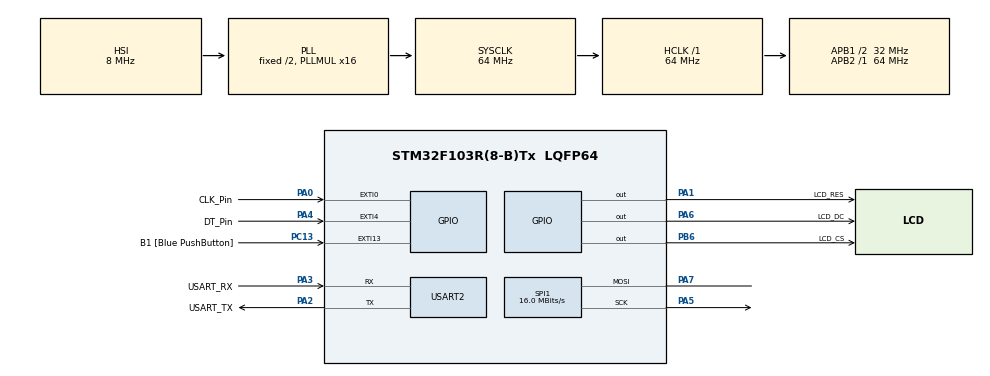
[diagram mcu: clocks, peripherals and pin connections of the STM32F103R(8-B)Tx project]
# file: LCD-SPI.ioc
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Mcu.Family=STM32F1
Mcu.Name=STM32F103R(8-B)Tx
Mcu.Package=LQFP64
NVIC.EXTI0_IRQn=true\:1\:0\:true\:false\:true\:true\:true\:true
NVIC.EXTI15_10_IRQn=true\:2\:0\:true\:false\:true\:true\:true\:true
NVIC.EXTI4_IRQn=true\:1\:0\:true\:false\:true\:true\:true\:true
NVIC.PriorityGroup=NVIC_PRIORITYGROUP_4
PA0-WKUP.GPIO_Label=CLK_Pin
PA0-WKUP.GPIO_ModeDefaultEXTI=GPIO_MODE_IT_RISING_FALLING
PA0-WKUP.Signal=GPXTI0
PA1.GPIO_Label=LCD_RES
PA1.Signal=GPIO_Output
PA13.GPIO_Label=TMS
PA13.Mode=Serial_Wire
PA13.Signal=SYS_JTMS-SWDIO
PA14.GPIO_Label=TCK
PA14.Mode=Serial_Wire
PA14.Signal=SYS_JTCK-SWCLK
PA2.GPIO_Label=USART_TX
PA2.GPIO_Mode=GPIO_MODE_AF_PP
PA2.GPIO_PuPd=GPIO_NOPULL
PA2.GPIO_Speed=GPIO_SPEED_FREQ_LOW
PA2.Mode=Asynchronous
PA2.Signal=USART2_TX
PA3.GPIO_Label=USART_RX
PA3.GPIO_Mode=GPIO_MODE_AF_PP
PA3.GPIO_PuPd=GPIO_NOPULL
PA3.GPIO_Speed=GPIO_SPEED_FREQ_LOW
PA3.Mode=Asynchronous
PA3.Signal=USART2_RX
PA4.GPIO_Label=DT_Pin
PA4.GPIO_ModeDefaultEXTI=GPIO_MODE_IT_RISING_FALLING
PA4.Signal=GPXTI4
PA5.Mode=Simplex_Bidirectional_Master
PA5.Signal=SPI1_SCK
PA6.GPIO_Label=LCD_DC
PA6.Signal=GPIO_Output
PA7.Mode=Simplex_Bidirectional_Master
PA7.Signal=SPI1_MOSI
PB3.GPIO_Label=SWO
PB3.Signal=SYS_JTDO-TRACESWO
PB6.GPIO_Label=LCD_CS
PB6.Signal=GPIO_Output
PC13-TAMPER-RTC.GPIO_Label=B1 [Blue PushButton]
PC13-TAMPER-RTC.GPIO_ModeDefaultEXTI=GPIO_MODE_IT_RISING
PC13-TAMPER-RTC.GPIO_PuPd=GPIO_NOPULL
PC13-TAMPER-RTC.Signal=GPXTI13
PC14-OSC32_IN.Signal=RCC_OSC32_IN
PC15-OSC32_OUT.Signal=RCC_OSC32_OUT
PD0-OSC_IN.Signal=RCC_OSC_IN
PD1-OSC_OUT.Signal=RCC_OSC_OUT
ProjectManager.HeapSize=0x200
ProjectManager.StackSize=0x400
ProjectManager.TargetToolchain=STM32CubeIDE
RCC.AHBFreq_Value=64000000
RCC.APB1CLKDivider=RCC_HCLK_DIV2
RCC.APB1Freq_Value=32000000
RCC.APB1TimFreq_Value=64000000
RCC.APB2Freq_Value=64000000
RCC.APB2TimFreq_Value=64000000
RCC.HCLKFreq_Value=64000000
RCC.PLLMUL=RCC_PLL_MUL16
RCC.RTCClockSelection=RCC_RTCCLKSOURCE_LSE
RCC.SYSCLKFreq_VALUE=64000000
RCC.SYSCLKSource=RCC_SYSCLKSOURCE_PLLCLK
RCC.USBFreq_Value=64000000
SPI1.BaudRatePrescaler=SPI_BAUDRATEPRESCALER_4
SPI1.CalculateBaudRate=16.0 MBits/s
SPI1.Direction=SPI_DIRECTION_1LINE
SPI1.Mode=SPI_MODE_MASTER
SPI1.VirtualType=VM_MASTER
USART2.VirtualMode=VM_ASYNC
board=NUCLEO-F103RB

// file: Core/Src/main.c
/* USER CODE BEGIN Header */
/**
 ******************************************************************************
 * @file           : main.c
 * @brief          : Main program body
 ******************************************************************************
 * @attention
 *
 * Copyright (c) 2025 STMicroelectronics.
 * All rights reserved.
 *
 * This software is licensed under terms that can be found in the LICENSE file
 * in the root directory of this software component.
 * If no LICENSE file comes with this software, it is provided AS-IS.
 *
 ******************************************************************************
 */
/* USER CODE END Header */
#include "main.h"

/* USER CODE BEGIN Includes */
#include <string.h>
#include <stdio.h>
/* USER CODE END Includes */

/* USER CODE BEGIN PD */
// ST7735S Commands
#define ST7735_NOP     0x00
#define ST7735_SWRESET 0x01
#define ST7735_RDDID   0x04
#define ST7735_RDDST   0x09
#define ST7735_SLPIN   0x10
#define ST7735_SLPOUT  0x11
#define ST7735_PTLON   0x12
#define ST7735_NORON   0x13
#define ST7735_INVOFF  0x20
#define ST7735_INVON   0x21
#define ST7735_DISPOFF 0x28
#define ST7735_DISPON  0x29
#define ST7735_CASET   0x2A
#define ST7735_RASET   0x2B
#define ST7735_RAMWR   0x2C
#define ST7735_RAMRD   0x2E
#define ST7735_PTLAR   0x30
#define ST7735_COLMOD  0x3A
#define ST7735_MADCTL  0x36
#define ST7735_FRMCTR1 0xB1
#define ST7735_FRMCTR2 0xB2
#define ST7735_FRMCTR3 0xB3
#define ST7735_INVCTR  0xB4
#define ST7735_DISSET5 0xB6
#define ST7735_PWCTR1  0xC0
#define ST7735_PWCTR2  0xC1
#define ST7735_PWCTR3  0xC2
#define ST7735_PWCTR4  0xC3
#define ST7735_PWCTR5  0xC4
#define ST7735_VMCTR1  0xC5
#define ST7735_RDID1   0xDA
#define ST7735_RDID2   0xDB
#define ST7735_RDID3   0xDC
#define ST7735_RDID4   0xDD
#define ST7735_GMCTRP1 0xE0
#define ST7735_GMCTRN1 0xE1

// LCD dimensions
#define LCD_WIDTH  160
#define LCD_HEIGHT 120 //80

// Colors (RGB565)
#define BLACK   0x0000
#define WHITE   0xFFFF
#define RED     0xF800
#define GREEN   0x07E0
#define BLUE    0x001F
#define CYAN    0x07FF
#define MAGENTA 0xF81F
#define YELLOW  0xFFE0
/* USER CODE END PD */

/* USER CODE BEGIN PM */
// Pin control macros
#define LCD_CS_LOW()   HAL_GPIO_WritePin(GPIOB, GPIO_PIN_6, GPIO_PIN_RESET)
#define LCD_CS_HIGH()  HAL_GPIO_WritePin(GPIOB, GPIO_PIN_6, GPIO_PIN_SET)
#define LCD_DC_LOW()   HAL_GPIO_WritePin(GPIOA, GPIO_PIN_6, GPIO_PIN_RESET)
#define LCD_DC_HIGH()  HAL_GPIO_WritePin(GPIOA, GPIO_PIN_6, GPIO_PIN_SET)
#define LCD_RES_LOW()  HAL_GPIO_WritePin(GPIOA, GPIO_PIN_1, GPIO_PIN_RESET)
#define LCD_RES_HIGH() HAL_GPIO_WritePin(GPIOA, GPIO_PIN_1, GPIO_PIN_SET)

/* USER CODE END PM */

SPI_HandleTypeDef hspi1;

UART_HandleTypeDef huart2;

/* USER CODE BEGIN PV */
// Simple 8x8 font (ASCII 32-127) - subset for demonstration
static const uint8_t font8x8[][8] = { { 0x00, 0x00, 0x00, 0x00, 0x00, 0x00,
		0x00, 0x00 }, // ' ' (Space)
		{ 0x18, 0x3C, 0x3C, 0x18, 0x18, 0x00, 0x18, 0x00 }, // '!'
		{ 0x36, 0x36, 0x00, 0x00, 0x00, 0x00, 0x00, 0x00 }, // '"'
		{ 0x36, 0x36, 0x7F, 0x36, 0x7F, 0x36, 0x36, 0x00 }, // '#'
		{ 0x0C, 0x3E, 0x03, 0x1E, 0x30, 0x1F, 0x0C, 0x00 }, // '$'
		{ 0x00, 0x63, 0x33, 0x18, 0x0C, 0x66, 0x63, 0x00 }, // '%'
		{ 0x1C, 0x36, 0x1C, 0x6E, 0x3B, 0x33, 0x6E, 0x00 }, // '&'
		{ 0x06, 0x06, 0x03, 0x00, 0x00, 0x00, 0x00, 0x00 }, // '''
		{ 0x18, 0x0C, 0x06, 0x06, 0x06, 0x0C, 0x18, 0x00 }, // '('
		{ 0x06, 0x0C, 0x18, 0x18, 0x18, 0x0C, 0x06, 0x00 }, // ')'
		{ 0x00, 0x66, 0x3C, 0xFF, 0x3C, 0x66, 0x00, 0x00 }, // '*'
		{ 0x00, 0x0C, 0x0C, 0x3F, 0x0C, 0x0C, 0x00, 0x00 }, // '+'
		{ 0x00, 0x00, 0x00, 0x00, 0x00, 0x0C, 0x06, 0x00 }, // ','
		{ 0x00, 0x00, 0x00, 0x3F, 0x00, 0x00, 0x00, 0x00 }, // '-'
		{ 0x00, 0x00, 0x00, 0x00, 0x00, 0x0C, 0x0C, 0x00 }, // '.'
		{ 0x60, 0x30, 0x18, 0x0C, 0x06, 0x03, 0x01, 0x00 }, // '/'
		{ 0x3E, 0x63, 0x73, 0x7B, 0x6F, 0x67, 0x3E, 0x00 }, // '0'
		{ 0x0C, 0x0E, 0x0C, 0x0C, 0x0C, 0x0C, 0x3F, 0x00 }, // '1'
		{ 0x1E, 0x33, 0x30, 0x1C, 0x06, 0x33, 0x3F, 0x00 }, // '2'
		{ 0x1E, 0x33, 0x30, 0x1C, 0x30, 0x33, 0x1E, 0x00 }, // '3'
		{ 0x38, 0x3C, 0x36, 0x33, 0x7F, 0x30, 0x78, 0x00 }, // '4'
		{ 0x3F, 0x03, 0x1F, 0x30, 0x30, 0x33, 0x1E, 0x00 }, // '5'
		{ 0x1C, 0x06, 0x03, 0x1F, 0x33, 0x33, 0x1E, 0x00 }, // '6'
		{ 0x3F, 0x33, 0x30, 0x18, 0x0C, 0x0C, 0x0C, 0x00 }, // '7'
		{ 0x1E, 0x33, 0x33, 0x1E, 0x33, 0x33, 0x1E, 0x00 }, // '8'
		{ 0x1E, 0x33, 0x33, 0x3E, 0x30, 0x18, 0x0E, 0x00 }, // '9'
		{ 0x00, 0x0C, 0x0C, 0x00, 0x00, 0x0C, 0x0C, 0x00 }, // ':'
		{ 0x00, 0x0C, 0x0C, 0x00, 0x00, 0x0C, 0x06, 0x00 }, // ';'
		{ 0x18, 0x0C, 0x06, 0x03, 0x06, 0x0C, 0x18, 0x00 }, // '<'
		{ 0x00, 0x00, 0x3F, 0x00, 0x00, 0x3F, 0x00, 0x00 }, // '='
		{ 0x06, 0x0C, 0x18, 0x30, 0x18, 0x0C, 0x06, 0x00 }, // '>'
		{ 0x1E, 0x33, 0x30, 0x18, 0x0C, 0x00, 0x0C, 0x00 }, // '?'
		{ 0x3E, 0x63, 0x7B, 0x7B, 0x7B, 0x03, 0x1E, 0x00 }, // '@'
		{ 0x0C, 0x1E, 0x33, 0x33, 0x3F, 0x33, 0x33, 0x00 }, // 'A'
		{ 0x3F, 0x66, 0x66, 0x3E, 0x66, 0x66, 0x3F, 0x00 }, // 'B'
		{ 0x3C, 0x66, 0x03, 0x03, 0x03, 0x66, 0x3C, 0x00 }, // 'C'
		{ 0x1F, 0x36, 0x66, 0x66, 0x66, 0x36, 0x1F, 0x00 }, // 'D'
		{ 0x7F, 0x46, 0x16, 0x1E, 0x16, 0x46, 0x7F, 0x00 }, // 'E'
		{ 0x7F, 0x46, 0x16, 0x1E, 0x16, 0x06, 0x0F, 0x00 }, // 'F'
		{ 0x3C, 0x66, 0x03, 0x03, 0x73, 0x66, 0x7C, 0x00 }, // 'G'
		{ 0x33, 0x33, 0x33, 0x3F, 0x33, 0x33, 0x33, 0x00 }, // 'H'
		{ 0x1E, 0x0C, 0x0C, 0x0C, 0x0C, 0x0C, 0x1E, 0x00 }, // 'I'
		{ 0x78, 0x30, 0x30, 0x30, 0x33, 0x33, 0x1E, 0x00 }, // 'J'
		{ 0x67, 0x66, 0x36, 0x1E, 0x36, 0x66, 0x67, 0x00 }, // 'K'
		{ 0x0F, 0x06, 0x06, 0x06, 0x46, 0x66, 0x7F, 0x00 }, // 'L'
		{ 0x63, 0x77, 0x7F, 0x7F, 0x6B, 0x63, 0x63, 0x00 }, // 'M'
		{ 0x63, 0x67, 0x6F, 0x7B, 0x73, 0x63, 0x63, 0x00 }, // 'N'
		{ 0x1C, 0x36, 0x63, 0x63, 0x63, 0x36, 0x1C, 0x00 }, // 'O'
		{ 0x3F, 0x66, 0x66, 0x3E, 0x06, 0x06, 0x0F, 0x00 }, // 'P'
		{ 0x1E, 0x33, 0x33, 0x33, 0x3B, 0x1E, 0x38, 0x00 }, // 'Q'
		{ 0x3F, 0x66, 0x66, 0x3E, 0x36, 0x66, 0x67, 0x00 }, // 'R'
		{ 0x1E, 0x33, 0x07, 0x0E, 0x38, 0x33, 0x1E, 0x00 }, // 'S'
		{ 0x3F, 0x2D, 0x0C, 0x0C, 0x0C, 0x0C, 0x1E, 0x00 }, // 'T'
		{ 0x33, 0x33, 0x33, 0x33, 0x33, 0x33, 0x3F, 0x00 }, // 'U'
		{ 0x33, 0x33, 0x33, 0x33, 0x33, 0x1E, 0x0C, 0x00 }, // 'V'
		{ 0x63, 0x63, 0x63, 0x6B, 0x7F, 0x77, 0x63, 0x00 }, // 'W'
		{ 0x63, 0x63, 0x36, 0x1C, 0x1C, 0x36, 0x63, 0x00 }, // 'X'
		{ 0x33, 0x33, 0x33, 0x1E, 0x0C, 0x0C, 0x1E, 0x00 }, // 'Y'
		{ 0x7F, 0x63, 0x31, 0x18, 0x4C, 0x66, 0x7F, 0x00 }, // 'Z'
		{ 0x1E, 0x06, 0x06, 0x06, 0x06, 0x06, 0x1E, 0x00 }, // '['
		{ 0x03, 0x06, 0x0C, 0x18, 0x30, 0x60, 0x40, 0x00 }, // '\'
		{ 0x1E, 0x18, 0x18, 0x18, 0x18, 0x18, 0x1E, 0x00 }, // ']'
		{ 0x08, 0x1C, 0x36, 0x63, 0x00, 0x00, 0x00, 0x00 }, // '^'
		{ 0x00, 0x00, 0x00, 0x00, 0x00, 0x00, 0x00, 0xFF }, // '_'
		{ 0x0C, 0x0C, 0x18, 0x00, 0x00, 0x00, 0x00, 0x00 }, // '`'
		{ 0x00, 0x00, 0x1E, 0x30, 0x3E, 0x33, 0x6E, 0x00 }, // 'a'
		{ 0x07, 0x06, 0x06, 0x3E, 0x66, 0x66, 0x3B, 0x00 }, // 'b'
		{ 0x00, 0x00, 0x1E, 0x33, 0x03, 0x33, 0x1E, 0x00 }, // 'c'
		{ 0x38, 0x30, 0x30, 0x3e, 0x33, 0x33, 0x6E, 0x00 }, // 'd'
		{ 0x00, 0x00, 0x1E, 0x33, 0x3f, 0x03, 0x1E, 0x00 }, // 'e'
		{ 0x1C, 0x36, 0x06, 0x0f, 0x06, 0x06, 0x0F, 0x00 }, // 'f'
		{ 0x00, 0x00, 0x6E, 0x33, 0x33, 0x3E, 0x30, 0x1F }, // 'g'
		{ 0x07, 0x06, 0x36, 0x6E, 0x66, 0x66, 0x67, 0x00 }, // 'h'
		{ 0x0C, 0x00, 0x0E, 0x0C, 0x0C, 0x0C, 0x1E, 0x00 }, // 'i'
		{ 0x30, 0x00, 0x30, 0x30, 0x30, 0x33, 0x33, 0x1E }, // 'j'
		{ 0x07, 0x06, 0x66, 0x36, 0x1E, 0x36, 0x67, 0x00 }, // 'k'
		{ 0x0E, 0x0C, 0x0C, 0x0C, 0x0C, 0x0C, 0x1E, 0x00 }, // 'l'
		{ 0x00, 0x00, 0x33, 0x7F, 0x7F, 0x6B, 0x63, 0x00 }, // 'm'
		{ 0x00, 0x00, 0x1F, 0x33, 0x33, 0x33, 0x33, 0x00 }, // 'n'
		{ 0x00, 0x00, 0x1E, 0x33, 0x33, 0x33, 0x1E, 0x00 }, // 'o'
		{ 0x00, 0x00, 0x3B, 0x66, 0x66, 0x3E, 0x06, 0x0F }, // 'p'
		{ 0x00, 0x00, 0x6E, 0x33, 0x33, 0x3E, 0x30, 0x78 }, // 'q'
		{ 0x00, 0x00, 0x3B, 0x6E, 0x66, 0x06, 0x0F, 0x00 }, // 'r'
		{ 0x00, 0x00, 0x3E, 0x03, 0x1E, 0x30, 0x1F, 0x00 }, // 's'
		{ 0x08, 0x0C, 0x3E, 0x0C, 0x0C, 0x2C, 0x18, 0x00 }, // 't'
		{ 0x00, 0x00, 0x33, 0x33, 0x33, 0x33, 0x6E, 0x00 }, // 'u'
		{ 0x00, 0x00, 0x33, 0x33, 0x33, 0x1E, 0x0C, 0x00 }, // 'v'
		{ 0x00, 0x00, 0x63, 0x6B, 0x7F, 0x7F, 0x36, 0x00 }, // 'w'
		{ 0x00, 0x00, 0x63, 0x36, 0x1C, 0x36, 0x63, 0x00 }, // 'x'
		{ 0x00, 0x00, 0x33, 0x33, 0x33, 0x3E, 0x30, 0x1F }, // 'y'
		{ 0x00, 0x00, 0x3F, 0x19, 0x0C, 0x26, 0x3F, 0x00 }, // 'z'
		{ 0x38, 0x0C, 0x0C, 0x07, 0x0C, 0x0C, 0x38, 0x00 }, // '{'
		{ 0x18, 0x18, 0x18, 0x00, 0x18, 0x18, 0x18, 0x00 }, // '|'
		{ 0x07, 0x0C, 0x0C, 0x38, 0x0C, 0x0C, 0x07, 0x00 }, // '}'
		{ 0x6E, 0x3B, 0x00, 0x00, 0x00, 0x00, 0x00, 0x00 }, // '~'
		};
// 인코더 관련 변수 (그레이 코드 방식)
volatile int32_t encoder_count = 0;
volatile uint8_t encoder_last_encoded = 0;

// 디바운스를 위한 변수
volatile uint32_t last_interrupt_time = 0;
#define DEBOUNCE_DELAY 5  // ms 단위

/* USER CODE END PV */

void SystemClock_Config(void);
static void MX_GPIO_Init(void);
static void MX_USART2_UART_Init(void);
static void MX_SPI1_Init(void);
/* USER CODE BEGIN PFP */
void Encoder_Init(void);
void HAL_GPIO_EXTI_Callback(uint16_t GPIO_Pin);

// LCD function prototypes
void LCD_WriteCommand(uint8_t cmd);
void LCD_WriteData(uint8_t data);
void LCD_WriteData16(uint16_t data);
void LCD_Init(void);
void LCD_SetWindow(uint8_t x0, uint8_t y0, uint8_t x1, uint8_t y1);
void LCD_DrawPixel(uint8_t x, uint8_t y, uint16_t color);
void LCD_Fill(uint16_t color);
void LCD_DrawChar(uint8_t x, uint8_t y, char ch, uint16_t color,
		uint16_t bg_color);
void LCD_DrawString(uint8_t x, uint8_t y, const char *str, uint16_t color,
		uint16_t bg_color);
/* USER CODE END PFP */

/* USER CODE BEGIN 0 */
#ifdef __GNUC__
/* With GCC, small printf (option LD Linker->Libraries->Small printf
   set to 'Yes') calls __io_putchar() */
#define PUTCHAR_PROTOTYPE int __io_putchar(int ch)
#else
#define PUTCHAR_PROTOTYPE int fputc(int ch, FILE *f)
#endif /* __GNUC__ */

/**
* @brief Retargets the C library printf function to the USART.
* @param None
* @retval None
*/
PUTCHAR_PROTOTYPE
{
  /* Place your implementation of fputc here */
  /* e.g. write a character to the USART1 and Loop until the end of transmission */
  if (ch == '\n')
    HAL_UART_Transmit(&huart2, (uint8_t*)"\r", 1, 0xFFFF);
  HAL_UART_Transmit(&huart2, (uint8_t*)&ch, 1, 0xFFFF);

  return ch;
}

/**
 * @brief 로터리 인코더 초기화 (그레이 코드 방식)
 */
void Encoder_Init(void)
{
  // 초기 상태 읽기
  uint8_t clk = HAL_GPIO_ReadPin(GPIOA, GPIO_PIN_0);
  uint8_t dt = HAL_GPIO_ReadPin(GPIOA, GPIO_PIN_1);
  encoder_last_encoded = (clk << 1) | dt;
  encoder_count = 0;
}

/**
 * @brief GPIO 외부 인터럽트 콜백 함수 (그레이 코드 방식)
 * 안정적인 로터리 인코더 감지
 */
void HAL_GPIO_EXTI_Callback(uint16_t GPIO_Pin)
{
  uint32_t current_time = HAL_GetTick();

  // 디바운스 처리
  if (current_time - last_interrupt_time < DEBOUNCE_DELAY) {
    return;
  }
  last_interrupt_time = current_time;

  // 인코더 핀들 처리 (PA0, PA1)
  if (GPIO_Pin == GPIO_PIN_0 || GPIO_Pin == GPIO_PIN_1)
  {
    // 현재 상태 읽기
    uint8_t clk = HAL_GPIO_ReadPin(GPIOA, GPIO_PIN_0);
    uint8_t dt = HAL_GPIO_ReadPin(GPIOA, GPIO_PIN_1);
    uint8_t encoded = (clk << 1) | dt;  // 2비트 상태 생성

    uint8_t sum = (encoder_last_encoded << 2) | encoded;  // 이전 상태와 현재 상태 결합

    // 회전 방향 결정 (그레이 코드 기반)
    if(sum == 0b1101 || sum == 0b0100 || sum == 0b0010 || sum == 0b1011) {
      encoder_count++;  // 시계방향
    }
    if(sum == 0b1110 || sum == 0b0111 || sum == 0b0001 || sum == 0b1000) {
      encoder_count--;  // 반시계방향
    }

    encoder_last_encoded = encoded;
  }
}
void LCD_WriteCommand(uint8_t cmd) {
	LCD_CS_LOW();
	LCD_DC_LOW();
	HAL_SPI_Transmit(&hspi1, &cmd, 1, HAL_MAX_DELAY);
	LCD_CS_HIGH();
}

void LCD_WriteData(uint8_t data) {
	LCD_CS_LOW();
	LCD_DC_HIGH();
	HAL_SPI_Transmit(&hspi1, &data, 1, HAL_MAX_DELAY);
	LCD_CS_HIGH();
}

void LCD_WriteData16(uint16_t data) {
	uint8_t buffer[2];
	buffer[0] = (data >> 8) & 0xFF;
	buffer[1] = data & 0xFF;

	LCD_CS_LOW();
	LCD_DC_HIGH();
	HAL_SPI_Transmit(&hspi1, buffer, 2, HAL_MAX_DELAY);
	LCD_CS_HIGH();
}

void LCD_Init(void) {
	// Hardware reset
	LCD_RES_LOW();
	HAL_Delay(100);
	LCD_RES_HIGH();
	HAL_Delay(100);

	// Software reset
	LCD_WriteCommand(ST7735_SWRESET);
	HAL_Delay(150);

	// Out of sleep mode
	LCD_WriteCommand(ST7735_SLPOUT);
	HAL_Delay(500);

	// Frame rate control - normal mode
	LCD_WriteCommand(ST7735_FRMCTR1);
	LCD_WriteData(0x01);
	LCD_WriteData(0x2C);
	LCD_WriteData(0x2D);

	// Frame rate control - idle mode
	LCD_WriteCommand(ST7735_FRMCTR2);
	LCD_WriteData(0x01);
	LCD_WriteData(0x2C);
	LCD_WriteData(0x2D);

	// Frame rate control - partial mode
	LCD_WriteCommand(ST7735_FRMCTR3);
	LCD_WriteData(0x01);
	LCD_WriteData(0x2C);
	LCD_WriteData(0x2D);
	LCD_WriteData(0x01);
	LCD_WriteData(0x2C);
	LCD_WriteData(0x2D);

	// Display inversion control
	LCD_WriteCommand(ST7735_INVCTR);
	LCD_WriteData(0x07);

	// Power control
	LCD_WriteCommand(ST7735_PWCTR1);
	LCD_WriteData(0xA2);
	LCD_WriteData(0x02);
	LCD_WriteData(0x84);

	LCD_WriteCommand(ST7735_PWCTR2);
	LCD_WriteData(0xC5);

	LCD_WriteCommand(ST7735_PWCTR3);
	LCD_WriteData(0x0A);
	LCD_WriteData(0x00);

	LCD_WriteCommand(ST7735_PWCTR4);
	LCD_WriteData(0x8A);
	LCD_WriteData(0x2A);

	LCD_WriteCommand(ST7735_PWCTR5);
	LCD_WriteData(0x8A);
	LCD_WriteData(0xEE);

	// VCOM control
	LCD_WriteCommand(ST7735_VMCTR1);
	LCD_WriteData(0x0E);

	// Display inversion off
	LCD_WriteCommand(ST7735_INVON);

	// Memory access control (rotation)
	LCD_WriteCommand(ST7735_MADCTL);
	// 1. 기본 90도 회전 (추천)
	//LCD_WriteData(0x20); // MY=0, MX=0, MV=1
	// 2. 현재 사용중
	//LCD_WriteData(0xE0); // MY=1, MX=1, MV=1
	// 3. 90도 + X축만 미러링
	LCD_WriteData(0x68); // MY=0, MX=1, MV=1
	// 4. 90도 + Y축만 미러링
	//LCD_WriteData(0xA0); // MY=1, MX=0, MV=1

	// Color mode: 16-bit color
	LCD_WriteCommand(ST7735_COLMOD);
	LCD_WriteData(0x05);

	// Column address set
	LCD_WriteCommand(ST7735_CASET);
	LCD_WriteData(0x00);
	LCD_WriteData(0x00);
	LCD_WriteData(0x00);
	//LCD_WriteData(0x4F); // 79
	LCD_WriteData(0x9F); // 159

	// Row address set
	LCD_WriteCommand(ST7735_RASET);
	LCD_WriteData(0x00);
	LCD_WriteData(0x00);
	LCD_WriteData(0x00);
	//LCD_WriteData(0x9F); // 159
	// Row address set (80픽셀)
	LCD_WriteData(0x4F); // 79

	// Gamma correction
	LCD_WriteCommand(ST7735_GMCTRP1);
	LCD_WriteData(0x0f);
	LCD_WriteData(0x1a);
	LCD_WriteData(0x0f);
	LCD_WriteData(0x18);
	LCD_WriteData(0x2f);
	LCD_WriteData(0x28);
	LCD_WriteData(0x20);
	LCD_WriteData(0x22);
	LCD_WriteData(0x1f);
	LCD_WriteData(0x1b);
	LCD_WriteData(0x23);
	LCD_WriteData(0x37);
	LCD_WriteData(0x00);
	LCD_WriteData(0x07);
	LCD_WriteData(0x02);
	LCD_WriteData(0x10);

	LCD_WriteCommand(ST7735_GMCTRN1);
	LCD_WriteData(0x0f);
	LCD_WriteData(0x1b);
	LCD_WriteData(0x0f);
	LCD_WriteData(0x17);
	LCD_WriteData(0x33);
	LCD_WriteData(0x2c);
	LCD_WriteData(0x29);
	LCD_WriteData(0x2e);
	LCD_WriteData(0x30);
	LCD_WriteData(0x30);
	LCD_WriteData(0x39);
	LCD_WriteData(0x3f);
	LCD_WriteData(0x00);
	LCD_WriteData(0x07);
	LCD_WriteData(0x03);
	LCD_WriteData(0x10);

	// Normal display on
	LCD_WriteCommand(ST7735_NORON);
	HAL_Delay(10);

	// Main screen turn on
	LCD_WriteCommand(ST7735_DISPON);
	HAL_Delay(100);
}

void LCD_SetWindow(uint8_t x0, uint8_t y0, uint8_t x1, uint8_t y1) {
	// 0.96" ST7735S LCD 오프셋 적용
	uint8_t x_offset = 0;  // X축 오프셋
	uint8_t y_offset = 0;   // Y축 오프셋

	// Column address set (X축)
	LCD_WriteCommand(ST7735_CASET);
	LCD_WriteData(0x00);
	LCD_WriteData(x0 + x_offset);
	LCD_WriteData(0x00);
	LCD_WriteData(x1 + x_offset);

	// Row address set (Y축)
	LCD_WriteCommand(ST7735_RASET);
	LCD_WriteData(0x00);
	LCD_WriteData(y0 + y_offset);
	LCD_WriteData(0x00);
	LCD_WriteData(y1 + y_offset);

	// Write to RAM
	LCD_WriteCommand(ST7735_RAMWR);
}

void LCD_DrawPixel(uint8_t x, uint8_t y, uint16_t color) {
	if (x >= LCD_WIDTH || y >= LCD_HEIGHT)
		return;

	LCD_SetWindow(x, y, x, y);
	LCD_WriteData16(color);
}

void LCD_Fill(uint16_t color) {
	LCD_SetWindow(0, 0, LCD_WIDTH - 1, LCD_HEIGHT - 1);

	LCD_CS_LOW();
	LCD_DC_HIGH();

	for (uint16_t i = 0; i < LCD_WIDTH * LCD_HEIGHT; i++) {
		uint8_t buffer[2];
		buffer[0] = (color >> 8) & 0xFF;
		buffer[1] = color & 0xFF;
		HAL_SPI_Transmit(&hspi1, buffer, 2, HAL_MAX_DELAY);
	}

	LCD_CS_HIGH();
}

void LCD_DrawChar(uint8_t x, uint8_t y, char ch, uint16_t color,
		uint16_t bg_color) {
	if (ch < 32 || ch > 126)
		ch = 32; // Replace invalid chars with space

	const uint8_t *font_char = font8x8[ch - 32];

	for (uint8_t i = 0; i < 8; i++) {
		uint8_t line = font_char[i];
		for (uint8_t j = 0; j < 8; j++) {
			//if(line & (0x80 >> j)) {
			if (line & (0x01 << j)) { // LSB부터 읽기
				LCD_DrawPixel(x + j, y + i, color);
			} else {
				LCD_DrawPixel(x + j, y + i, bg_color);
			}
		}
	}
}

void LCD_DrawString(uint8_t x, uint8_t y, const char *str, uint16_t color,
		uint16_t bg_color) {
	uint8_t orig_x = x;

	while (*str) {
		if (*str == '\n') {
			y += 8;
			x = orig_x;
		} else if (*str == '\r') {
			x = orig_x;
		} else {
			if (x + 8 > LCD_WIDTH) {
				x = orig_x;
				y += 8;
			}
			if (y + 8 > LCD_HEIGHT) {
				break;
			}

			LCD_DrawChar(x, y, *str, color, bg_color);
			x += 8;
		}
		str++;
	}
}

/* USER CODE END 0 */

int main(void)
{

  /* USER CODE BEGIN 1 */
	int32_t last_encoder_count = 0;
  /* USER CODE END 1 */

  /* MCU Configuration--------------------------------------------------------*/

  /* Reset of all peripherals, Initializes the Flash interface and the Systick. */
  HAL_Init();

  /* Configure the system clock */
  SystemClock_Config();

  /* Initialize all configured peripherals */
  MX_GPIO_Init();
  MX_USART2_UART_Init();
  MX_SPI1_Init();
  /* USER CODE BEGIN 2 */
	// Initialize LCD
	LCD_Init();

	// Clear screen with black background
	void LCD_Page1(void) {
		LCD_Fill(BLACK);

		LCD_DrawString(10, 30, "Hello World!", WHITE, BLACK);
		LCD_DrawString(10, 45, "STM32F103", GREEN, BLACK);
		LCD_DrawString(10, 60, "ST7735S LCD", CYAN, BLACK);
		LCD_DrawString(10, 75, "160x80", YELLOW, BLACK);
	}

	void LCD_Page2(void) {
		LCD_Fill(BLACK);

		LCD_DrawString(10, 30, "Hello, Every One!", WHITE, BLACK);
		LCD_DrawString(10, 45, "Have A Nice day!", GREEN, BLACK);
	}

	void LCD_Page3(void) {
		LCD_Fill(BLACK);

		LCD_DrawString(10, 60, "See You Later!", MAGENTA, BLACK);
		LCD_DrawString(10, 75, "Hungry!", CYAN, BLACK);
	}

	void LCD_Page4(void) {
			LCD_Fill(BLACK);
			LCD_DrawString(10, 30, "I'm Major Shareholder ", CYAN, BLACK);
			LCD_DrawString(10, 45, "OF SAMSUNG", CYAN, WHITE);
			LCD_DrawString(10, 75, "200,000 Won Per Share ", CYAN, WHITE);
			LCD_DrawString(10, 90, "Will Come IS Soon", CYAN, BLACK);
		}
	int i=0;
  /* USER CODE END 2 */

  /* Infinite loop */
  /* USER CODE BEGIN WHILE */
	while (1) {

		LCD_Page1();
		HAL_Delay(1000);
		LCD_Page2();
		HAL_Delay(1000);
		LCD_Page3();
		HAL_Delay(1000);
		LCD_Page4();
		HAL_Delay(1000);
		for(i=0; i<=10; i++)
		{
		LCD_Fill(BLACK);
		LCD_Page4();
		HAL_Delay(100);
		}

		 // 인코더 값 변화 감지 및 출력
			    if (encoder_count != last_encoder_count) {
			      printf("인코더 카운트: %ld", encoder_count);

			      if (encoder_count > last_encoder_count) {
			        printf(" (시계방향)\r\n");
			      } else {
			        printf(" (반시계방향)\r\n");
			      }

			      last_encoder_count = encoder_count;
			    }
    /* USER CODE END WHILE */

    /* USER CODE BEGIN 3 */
		HAL_Delay(1000);
	}
  /* USER CODE END 3 */
}

void SystemClock_Config(void)
{
  RCC_OscInitTypeDef RCC_OscInitStruct = {0};
  RCC_ClkInitTypeDef RCC_ClkInitStruct = {0};

  /** Initializes the RCC Oscillators according to the specified parameters
  * in the RCC_OscInitTypeDef structure.
  */
  RCC_OscInitStruct.OscillatorType = RCC_OSCILLATORTYPE_HSI;
  RCC_OscInitStruct.HSIState = RCC_HSI_ON;
  RCC_OscInitStruct.HSICalibrationValue = RCC_HSICALIBRATION_DEFAULT;
  RCC_OscInitStruct.PLL.PLLState = RCC_PLL_ON;
  RCC_OscInitStruct.PLL.PLLSource = RCC_PLLSOURCE_HSI_DIV2;
  RCC_OscInitStruct.PLL.PLLMUL = RCC_PLL_MUL16;
  if (HAL_RCC_OscConfig(&RCC_OscInitStruct) != HAL_OK)
  {
    Error_Handler();
  }

  /** Initializes the CPU, AHB and APB buses clocks
  */
  RCC_ClkInitStruct.ClockType = RCC_CLOCKTYPE_HCLK|RCC_CLOCKTYPE_SYSCLK
                              |RCC_CLOCKTYPE_PCLK1|RCC_CLOCKTYPE_PCLK2;
  RCC_ClkInitStruct.SYSCLKSource = RCC_SYSCLKSOURCE_PLLCLK;
  RCC_ClkInitStruct.AHBCLKDivider = RCC_SYSCLK_DIV1;
  RCC_ClkInitStruct.APB1CLKDivider = RCC_HCLK_DIV2;
  RCC_ClkInitStruct.APB2CLKDivider = RCC_HCLK_DIV1;

  if (HAL_RCC_ClockConfig(&RCC_ClkInitStruct, FLASH_LATENCY_2) != HAL_OK)
  {
    Error_Handler();
  }
}

static void MX_SPI1_Init(void)
{

  /* SPI1 parameter configuration*/
  hspi1.Instance = SPI1;
  hspi1.Init.Mode = SPI_MODE_MASTER;
  hspi1.Init.Direction = SPI_DIRECTION_1LINE;
  hspi1.Init.DataSize = SPI_DATASIZE_8BIT;
  hspi1.Init.CLKPolarity = SPI_POLARITY_LOW;
  hspi1.Init.CLKPhase = SPI_PHASE_1EDGE;
  hspi1.Init.NSS = SPI_NSS_SOFT;
  hspi1.Init.BaudRatePrescaler = SPI_BAUDRATEPRESCALER_4;
  hspi1.Init.FirstBit = SPI_FIRSTBIT_MSB;
  hspi1.Init.TIMode = SPI_TIMODE_DISABLE;
  hspi1.Init.CRCCalculation = SPI_CRCCALCULATION_DISABLE;
  hspi1.Init.CRCPolynomial = 10;
  if (HAL_SPI_Init(&hspi1) != HAL_OK)
  {
    Error_Handler();
  }

}

static void MX_USART2_UART_Init(void)
{

  huart2.Instance = USART2;
  huart2.Init.BaudRate = 115200;
  huart2.Init.WordLength = UART_WORDLENGTH_8B;
  huart2.Init.StopBits = UART_STOPBITS_1;
  huart2.Init.Parity = UART_PARITY_NONE;
  huart2.Init.Mode = UART_MODE_TX_RX;
  huart2.Init.HwFlowCtl = UART_HWCONTROL_NONE;
  huart2.Init.OverSampling = UART_OVERSAMPLING_16;
  if (HAL_UART_Init(&huart2) != HAL_OK)
  {
    Error_Handler();
  }

}

static void MX_GPIO_Init(void)
{
  GPIO_InitTypeDef GPIO_InitStruct = {0};

  /* GPIO Ports Clock Enable */
  __HAL_RCC_GPIOC_CLK_ENABLE();
  __HAL_RCC_GPIOD_CLK_ENABLE();
  __HAL_RCC_GPIOA_CLK_ENABLE();
  __HAL_RCC_GPIOB_CLK_ENABLE();

  /*Configure GPIO pin Output Level */
  HAL_GPIO_WritePin(GPIOA, LCD_RES_Pin|LCD_DC_Pin, GPIO_PIN_RESET);

  /*Configure GPIO pin Output Level */
  HAL_GPIO_WritePin(LCD_CS_GPIO_Port, LCD_CS_Pin, GPIO_PIN_RESET);

  /*Configure GPIO pin : B1_Pin */
  GPIO_InitStruct.Pin = B1_Pin;
  GPIO_InitStruct.Mode = GPIO_MODE_IT_RISING;
  GPIO_InitStruct.Pull = GPIO_NOPULL;
  HAL_GPIO_Init(B1_GPIO_Port, &GPIO_InitStruct);

  /*Configure GPIO pins : CLK_Pin_Pin DT_Pin_Pin */
  GPIO_InitStruct.Pin = CLK_Pin_Pin|DT_Pin_Pin;
  GPIO_InitStruct.Mode = GPIO_MODE_IT_RISING_FALLING;
  GPIO_InitStruct.Pull = GPIO_NOPULL;
  HAL_GPIO_Init(GPIOA, &GPIO_InitStruct);

  /*Configure GPIO pins : LCD_RES_Pin LCD_DC_Pin */
  GPIO_InitStruct.Pin = LCD_RES_Pin|LCD_DC_Pin;
  GPIO_InitStruct.Mode = GPIO_MODE_OUTPUT_PP;
  GPIO_InitStruct.Pull = GPIO_NOPULL;
  GPIO_InitStruct.Speed = GPIO_SPEED_FREQ_LOW;
  HAL_GPIO_Init(GPIOA, &GPIO_InitStruct);

  /*Configure GPIO pin : LCD_CS_Pin */
  GPIO_InitStruct.Pin = LCD_CS_Pin;
  GPIO_InitStruct.Mode = GPIO_MODE_OUTPUT_PP;
  GPIO_InitStruct.Pull = GPIO_NOPULL;
  GPIO_InitStruct.Speed = GPIO_SPEED_FREQ_LOW;
  HAL_GPIO_Init(LCD_CS_GPIO_Port, &GPIO_InitStruct);

  /* EXTI interrupt init*/
  HAL_NVIC_SetPriority(EXTI0_IRQn, 1, 0);
  HAL_NVIC_EnableIRQ(EXTI0_IRQn);

  HAL_NVIC_SetPriority(EXTI4_IRQn, 1, 0);
  HAL_NVIC_EnableIRQ(EXTI4_IRQn);

  HAL_NVIC_SetPriority(EXTI15_10_IRQn, 2, 0);
  HAL_NVIC_EnableIRQ(EXTI15_10_IRQn);

}

void Error_Handler(void)
{
	__disable_irq();
	while (1) {
	}
}
